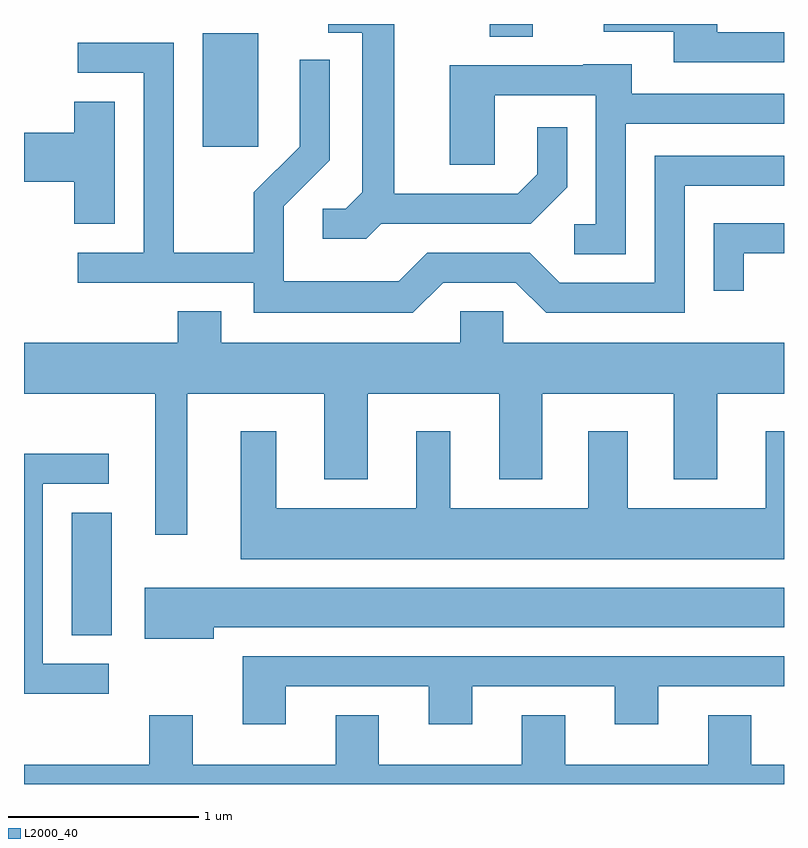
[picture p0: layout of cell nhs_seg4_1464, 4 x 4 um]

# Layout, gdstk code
import gdstk
lib = gdstk.Library(unit=1e-6, precision=1e-09)
def R(c, l, rs):  # rectangles x0, y0, x1, y1
    for r in rs: c.add(gdstk.rectangle(r[:2], r[2:], *l))
def P(c, l, *ps):  # polygons
    for p in ps: c.add(gdstk.Polygon(p, *l))
L2000_40 = (2000, 40)

nhs_seg4_1464 = lib.new_cell('nhs_seg4_1464')
R(nhs_seg4_1464, L2000_40, [(227.861,1326.766,228.074,1327.409), (228.551,1329.336,228.844,1329.934), (230.061,1329.916,230.289,1329.982)])
P(nhs_seg4_1464, L2000_40, [(229.492,1328.931),(230.277,1328.931),(230.469,1329.124),(230.469,1329.438),(230.311,1329.438),(230.311,1329.192),(230.209,1329.089),(229.559,1329.089),(229.559,1329.982),(229.213,1329.982),(229.213,1329.936),(229.391,1329.936),(229.391,1329.097),(229.304,1329.009),(229.183,1329.009),(229.183,1328.851),(229.412,1328.851)],
  [(231.611,1329.939),(231.259,1329.939),(231.259,1329.982),(230.663,1329.982),(230.663,1329.941),(231.031,1329.941),(231.031,1329.781),(231.611,1329.781)],
  [(229.817,1328.621),(230.199,1328.621),(230.359,1328.461),(231.089,1328.461),(231.089,1329.131),(231.611,1329.131),(231.611,1329.289),(230.931,1329.289),(230.931,1328.619),(230.432,1328.619),(230.272,1328.779),(229.734,1328.779),(229.584,1328.629),(228.979,1328.629),(228.979,1329.024),(229.219,1329.264),(229.219,1329.793),(229.061,1329.793),(229.061,1329.337),(228.821,1329.097),(228.821,1328.779),(228.399,1328.779),(228.399,1329.884),(227.893,1329.884),(227.893,1329.726),(228.241,1329.726),(228.241,1328.779),(227.893,1328.779),(227.893,1328.621),(228.821,1328.621),(228.821,1328.461),(229.657,1328.461)],
  [(230.779,1329.456),(231.611,1329.456),(231.611,1329.614),(230.809,1329.614),(230.809,1329.769),(230.555,1329.769),(230.555,1329.764),(229.851,1329.764),(229.851,1329.241),(230.089,1329.241),(230.089,1329.606),(230.621,1329.606),(230.621,1328.929),(230.508,1328.929),(230.508,1328.771),(230.779,1328.771)],
  [(228.089,1329.574),(227.876,1329.574),(227.876,1329.409),(227.611,1329.409),(227.611,1329.151),(227.876,1329.151),(227.876,1328.931),(228.089,1328.931)],
  [(231.399,1328.776),(231.611,1328.776),(231.611,1328.934),(231.241,1328.934),(231.241,1328.578),(231.399,1328.578)],
  [(228.469,1328.036),(229.191,1328.036),(229.191,1327.586),(229.419,1327.586),(229.419,1328.036),(230.111,1328.036),(230.111,1327.586),(230.339,1327.586),(230.339,1328.036),(231.031,1328.036),(231.031,1327.586),(231.259,1327.586),(231.259,1328.036),(231.611,1328.036),(231.611,1328.304),(230.134,1328.304),(230.134,1328.469),(229.906,1328.469),(229.906,1328.304),(228.649,1328.304),(228.649,1328.469),(228.421,1328.469),(228.421,1328.304),(227.611,1328.304),(227.611,1328.036),(228.301,1328.036),(228.301,1327.293),(228.469,1327.293)],
  [(231.611,1327.839),(231.516,1327.839),(231.516,1327.434),(230.789,1327.434),(230.789,1327.839),(230.581,1327.839),(230.581,1327.434),(229.854,1327.434),(229.854,1327.839),(229.676,1327.839),(229.676,1327.434),(228.939,1327.434),(228.939,1327.839),(228.751,1327.839),(228.751,1327.166),(231.611,1327.166)],
  [(228.058,1326.614),(227.709,1326.614),(227.709,1327.561),(228.058,1327.561),(228.058,1327.719),(227.611,1327.719),(227.611,1326.456),(228.058,1326.456)],
  [(228.609,1326.806),(231.611,1326.806),(231.611,1327.014),(228.246,1327.014),(228.246,1326.746),(228.609,1326.746)],
  [(228.989,1326.496),(229.741,1326.496),(229.741,1326.296),(229.969,1326.296),(229.969,1326.496),(230.721,1326.496),(230.721,1326.296),(230.949,1326.296),(230.949,1326.496),(231.611,1326.496),(231.611,1326.654),(228.761,1326.654),(228.761,1326.296),(228.989,1326.296)],
  [(231.611,1326.084),(231.439,1326.084),(231.439,1326.344),(231.211,1326.344),(231.211,1326.084),(230.459,1326.084),(230.459,1326.344),(230.231,1326.344),(230.231,1326.084),(229.479,1326.084),(229.479,1326.344),(229.251,1326.344),(229.251,1326.084),(228.499,1326.084),(228.499,1326.344),(228.271,1326.344),(228.271,1326.084),(227.611,1326.084),(227.611,1325.982),(231.611,1325.982)])

lib.write_gds('nhs_seg4_1464.gds')
